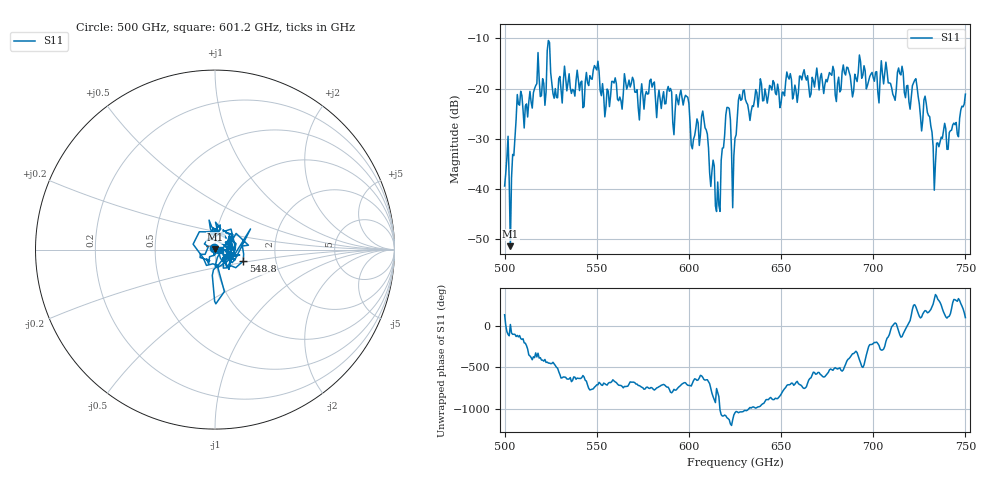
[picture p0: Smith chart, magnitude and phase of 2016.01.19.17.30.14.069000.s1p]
!Created with skrf (http://scikit-rf.org).
# GHz S RI R 50.0
!freq ReS11 ImS11
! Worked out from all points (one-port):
!   401 points, 500 GHz to 750 GHz, reference 50 ohm
!   lowest |S11| = -51.4 dB at 503.1 GHz (marker M1), VSWR 1.01, Z = 50.3 + j0.085 ohm
!   |S11| at or under -10 dB: start of sweep to end of sweep
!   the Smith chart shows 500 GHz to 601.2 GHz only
!   S11 on the Smith chart (normalised r, x): 500 GHz: 0.98, +0.01; 548.8 GHz: 1.36, -0.18; 601.2 GHz: 1.06, -0.01
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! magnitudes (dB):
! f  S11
! 500 GHz  -39.4
! 503.1 GHz  -51.4
! 508.1 GHz  -23.3
! 521.2 GHz  -18.9
! 524.4 GHz  -10.8
! 527.5 GHz  -20.0
! 531.2 GHz  -22.9
! 541.9 GHz  -18.5
! 548.8 GHz  -15.4
! 562.5 GHz  -21.7
! 568.8 GHz  -19.0
! 593.8 GHz  -22.2
! 598.8 GHz  -21.5
! 601.2 GHz  -31.3
! 608.1 GHz  -26.2
! 615.6 GHz  -38.6
! 620.6 GHz  -23.7
! 625 GHz  -29.9
! 628.8 GHz  -22.1
! 656.2 GHz  -22.1
! 687.5 GHz  -17.4
! 705.6 GHz  -19.1
! 711.2 GHz  -21.6
! 715 GHz  -17.3
! 718.8 GHz  -19.4
! 728.8 GHz  -22.9
! 734.4 GHz  -30.9
! 750 GHz  -21.1
